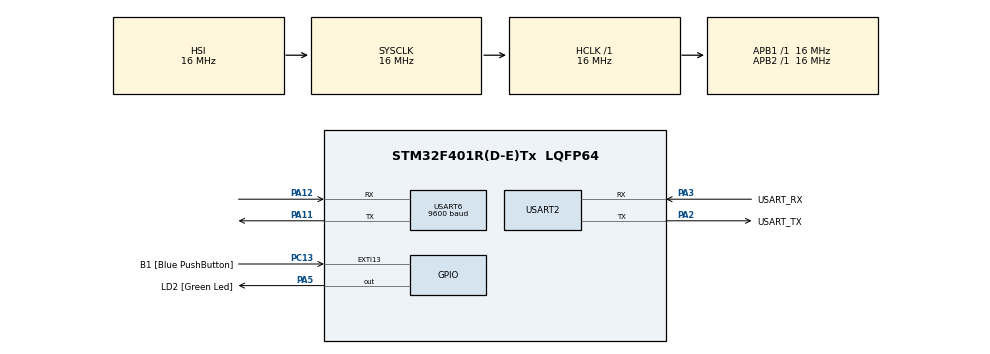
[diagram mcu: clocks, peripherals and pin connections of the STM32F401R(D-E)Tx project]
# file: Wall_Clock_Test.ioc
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Mcu.Family=STM32F4
Mcu.Name=STM32F401R(D-E)Tx
Mcu.Package=LQFP64
NVIC.PriorityGroup=NVIC_PRIORITYGROUP_0
NVIC.TIM5_IRQn=true\:0\:0\:false\:false\:true\:true\:true\:true
NVIC.USART6_IRQn=true\:0\:0\:false\:false\:true\:true\:true\:true
PA11.Mode=Asynchronous
PA11.Signal=USART6_TX
PA12.Mode=Asynchronous
PA12.Signal=USART6_RX
PA13.GPIO_Label=TMS
PA13.Mode=Serial_Wire
PA13.Signal=SYS_JTMS-SWDIO
PA14.GPIO_Label=TCK
PA14.Mode=Serial_Wire
PA14.Signal=SYS_JTCK-SWCLK
PA2.GPIO_Label=USART_TX
PA2.GPIO_Mode=GPIO_MODE_AF_PP
PA2.GPIO_PuPd=GPIO_NOPULL
PA2.GPIO_Speed=GPIO_SPEED_FREQ_LOW
PA2.Mode=Asynchronous
PA2.Signal=USART2_TX
PA3.GPIO_Label=USART_RX
PA3.GPIO_Mode=GPIO_MODE_AF_PP
PA3.GPIO_PuPd=GPIO_NOPULL
PA3.GPIO_Speed=GPIO_SPEED_FREQ_LOW
PA3.Mode=Asynchronous
PA3.Signal=USART2_RX
PA5.GPIO_Label=LD2 [Green Led]
PA5.GPIO_Mode=GPIO_MODE_OUTPUT_PP
PA5.GPIO_PuPd=GPIO_NOPULL
PA5.GPIO_Speed=GPIO_SPEED_FREQ_LOW
PA5.Signal=GPIO_Output
PB3.GPIO_Label=SWO
PB3.Signal=SYS_JTDO-SWO
PC13-ANTI_TAMP.GPIO_Label=B1 [Blue PushButton]
PC13-ANTI_TAMP.GPIO_ModeDefaultEXTI=GPIO_MODE_IT_FALLING
PC13-ANTI_TAMP.GPIO_PuPd=GPIO_NOPULL
PC13-ANTI_TAMP.Signal=GPXTI13
PC14-OSC32_IN.Mode=LSE-External-Oscillator
PC14-OSC32_IN.Signal=RCC_OSC32_IN
PC15-OSC32_OUT.Mode=LSE-External-Oscillator
PC15-OSC32_OUT.Signal=RCC_OSC32_OUT
PH0\ -\ OSC_IN.Mode=HSE-External-Clock-Source
PH0\ -\ OSC_IN.Signal=RCC_OSC_IN
PH1\ -\ OSC_OUT.Mode=HSE-External-Clock-Source
PH1\ -\ OSC_OUT.Signal=RCC_OSC_OUT
ProjectManager.HeapSize=0x200
ProjectManager.StackSize=0x400
ProjectManager.TargetToolchain=STM32CubeIDE
RCC.48MHZClocksFreq_Value=48000000
RCC.AHBFreq_Value=16000000
RCC.APB1Freq_Value=16000000
RCC.APB1TimFreq_Value=16000000
RCC.APB2Freq_Value=16000000
RCC.APB2TimFreq_Value=16000000
RCC.CortexFreq_Value=16000000
RCC.HCLKFreq_Value=16000000
RCC.HSE_VALUE=8000000
RCC.HSI_VALUE=16000000
RCC.PLLN=336
RCC.PLLP=RCC_PLLP_DIV4
RCC.PLLQ=7
RCC.SYSCLKFreq_VALUE=16000000
RCC.VCOOutputFreq_Value=336000000
TIM5.AutoReloadPreload=TIM_AUTORELOAD_PRELOAD_ENABLE
TIM5.Period=1000-1
TIM5.Prescaler=53
USART2.VirtualMode=VM_ASYNC
USART6.BaudRate=9600
USART6.Mode=MODE_TX
USART6.VirtualMode=VM_ASYNC
VP_TIM5_VS_ClockSourceINT.Mode=Internal
board=NUCLEO-F401RE

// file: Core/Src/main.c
/* USER CODE BEGIN Header */
/**
  ******************************************************************************
  * @file           : main.c
  * @brief          : Main program body
  ******************************************************************************
  * @attention
  *
  * Copyright (c) 2024 STMicroelectronics.
  * All rights reserved.
  *
  * This software is licensed under terms that can be found in the LICENSE file
  * in the root directory of this software component.
  * If no LICENSE file comes with this software, it is provided AS-IS.
  *
  ******************************************************************************
  */
/* USER CODE END Header */
#include "main.h"

/* USER CODE BEGIN Includes */
#include <stdio.h>
#include <string.h>
/* USER CODE END Includes */

TIM_HandleTypeDef htim5;

UART_HandleTypeDef huart2;
UART_HandleTypeDef huart6;

/* USER CODE BEGIN PV */
volatile int wall_clock_hr_update_flag = 0;
volatile uint8_t clock_hours = 0;
volatile uint8_t clock_mins = 0;
volatile uint8_t clock_secs = 0;
/* USER CODE END PV */

void SystemClock_Config(void);
static void MX_GPIO_Init(void);
static void MX_USART2_UART_Init(void);
static void MX_TIM5_Init(void);
static void MX_USART6_UART_Init(void);

int main(void)
{

  /* USER CODE BEGIN 1 */
	uint8_t txd_msg_buffer[64] = {0};
  /* USER CODE END 1 */

  /* MCU Configuration--------------------------------------------------------*/

  /* Reset of all peripherals, Initializes the Flash interface and the Systick. */
  HAL_Init();

  /* Configure the system clock */
  SystemClock_Config();

  /* Initialize all configured peripherals */
  MX_GPIO_Init();
  MX_USART2_UART_Init();
  MX_TIM5_Init();
  MX_USART6_UART_Init();
  /* USER CODE BEGIN 2 */
  sprintf((char*)txd_msg_buffer, "\r\n CLOCK TIME (REAL)");
  HAL_UART_Transmit(&huart6,txd_msg_buffer, strlen((char*)txd_msg_buffer), 1000);
  sprintf((char*)txd_msg_buffer, "\r\n HOURS MINS SECS\r\n");
  HAL_UART_Transmit(&huart6,txd_msg_buffer, strlen((char*)txd_msg_buffer), 1000);
	HAL_TIM_Base_Start_IT(&htim5);
	clock_hours = 0;
	clock_mins = 0;
	clock_secs = 0;
  /* USER CODE END 2 */

  /* Infinite loop */
  /* USER CODE BEGIN WHILE */
  while (1)
  {
	  sprintf((char*)txd_msg_buffer, "\r %d : %d : %d", clock_hours, clock_mins, clock_secs);
	  HAL_UART_Transmit(&huart6,txd_msg_buffer, strlen((char*)txd_msg_buffer), 1000);
	  HAL_Delay(100);
    /* USER CODE END WHILE */

  }
}

void SystemClock_Config(void)
{
  RCC_OscInitTypeDef RCC_OscInitStruct = {0};
  RCC_ClkInitTypeDef RCC_ClkInitStruct = {0};

  /** Configure the main internal regulator output voltage
  */
  __HAL_RCC_PWR_CLK_ENABLE();
  __HAL_PWR_VOLTAGESCALING_CONFIG(PWR_REGULATOR_VOLTAGE_SCALE2);

  /** Initializes the RCC Oscillators according to the specified parameters
  * in the RCC_OscInitTypeDef structure.
  */
  RCC_OscInitStruct.OscillatorType = RCC_OSCILLATORTYPE_HSI;
  RCC_OscInitStruct.HSIState = RCC_HSI_ON;
  RCC_OscInitStruct.HSICalibrationValue = RCC_HSICALIBRATION_DEFAULT;
  RCC_OscInitStruct.PLL.PLLState = RCC_PLL_NONE;
  if (HAL_RCC_OscConfig(&RCC_OscInitStruct) != HAL_OK)
  {
    Error_Handler();
  }

  /** Initializes the CPU, AHB and APB buses clocks
  */
  RCC_ClkInitStruct.ClockType = RCC_CLOCKTYPE_HCLK|RCC_CLOCKTYPE_SYSCLK
                              |RCC_CLOCKTYPE_PCLK1|RCC_CLOCKTYPE_PCLK2;
  RCC_ClkInitStruct.SYSCLKSource = RCC_SYSCLKSOURCE_HSI;
  RCC_ClkInitStruct.AHBCLKDivider = RCC_SYSCLK_DIV1;
  RCC_ClkInitStruct.APB1CLKDivider = RCC_HCLK_DIV1;
  RCC_ClkInitStruct.APB2CLKDivider = RCC_HCLK_DIV1;

  if (HAL_RCC_ClockConfig(&RCC_ClkInitStruct, FLASH_LATENCY_0) != HAL_OK)
  {
    Error_Handler();
  }
}

static void MX_TIM5_Init(void)
{

  TIM_ClockConfigTypeDef sClockSourceConfig = {0};
  TIM_MasterConfigTypeDef sMasterConfig = {0};

  htim5.Instance = TIM5;
  htim5.Init.Prescaler = 53;
  htim5.Init.CounterMode = TIM_COUNTERMODE_UP;
  htim5.Init.Period = 1000-1;
  htim5.Init.ClockDivision = TIM_CLOCKDIVISION_DIV1;
  htim5.Init.AutoReloadPreload = TIM_AUTORELOAD_PRELOAD_ENABLE;
  if (HAL_TIM_Base_Init(&htim5) != HAL_OK)
  {
    Error_Handler();
  }
  sClockSourceConfig.ClockSource = TIM_CLOCKSOURCE_INTERNAL;
  if (HAL_TIM_ConfigClockSource(&htim5, &sClockSourceConfig) != HAL_OK)
  {
    Error_Handler();
  }
  sMasterConfig.MasterOutputTrigger = TIM_TRGO_RESET;
  sMasterConfig.MasterSlaveMode = TIM_MASTERSLAVEMODE_DISABLE;
  if (HAL_TIMEx_MasterConfigSynchronization(&htim5, &sMasterConfig) != HAL_OK)
  {
    Error_Handler();
  }

}

static void MX_USART2_UART_Init(void)
{

  huart2.Instance = USART2;
  huart2.Init.BaudRate = 115200;
  huart2.Init.WordLength = UART_WORDLENGTH_8B;
  huart2.Init.StopBits = UART_STOPBITS_1;
  huart2.Init.Parity = UART_PARITY_NONE;
  huart2.Init.Mode = UART_MODE_TX_RX;
  huart2.Init.HwFlowCtl = UART_HWCONTROL_NONE;
  huart2.Init.OverSampling = UART_OVERSAMPLING_16;
  if (HAL_UART_Init(&huart2) != HAL_OK)
  {
    Error_Handler();
  }

}

static void MX_USART6_UART_Init(void)
{

  huart6.Instance = USART6;
  huart6.Init.BaudRate = 9600;
  huart6.Init.WordLength = UART_WORDLENGTH_8B;
  huart6.Init.StopBits = UART_STOPBITS_1;
  huart6.Init.Parity = UART_PARITY_NONE;
  huart6.Init.Mode = UART_MODE_TX;
  huart6.Init.HwFlowCtl = UART_HWCONTROL_NONE;
  huart6.Init.OverSampling = UART_OVERSAMPLING_16;
  if (HAL_UART_Init(&huart6) != HAL_OK)
  {
    Error_Handler();
  }

}

static void MX_GPIO_Init(void)
{
  GPIO_InitTypeDef GPIO_InitStruct = {0};

  /* GPIO Ports Clock Enable */
  __HAL_RCC_GPIOC_CLK_ENABLE();
  __HAL_RCC_GPIOH_CLK_ENABLE();
  __HAL_RCC_GPIOA_CLK_ENABLE();
  __HAL_RCC_GPIOB_CLK_ENABLE();

  /*Configure GPIO pin Output Level */
  HAL_GPIO_WritePin(LD2_GPIO_Port, LD2_Pin, GPIO_PIN_RESET);

  /*Configure GPIO pin : B1_Pin */
  GPIO_InitStruct.Pin = B1_Pin;
  GPIO_InitStruct.Mode = GPIO_MODE_IT_FALLING;
  GPIO_InitStruct.Pull = GPIO_NOPULL;
  HAL_GPIO_Init(B1_GPIO_Port, &GPIO_InitStruct);

  /*Configure GPIO pin : LD2_Pin */
  GPIO_InitStruct.Pin = LD2_Pin;
  GPIO_InitStruct.Mode = GPIO_MODE_OUTPUT_PP;
  GPIO_InitStruct.Pull = GPIO_NOPULL;
  GPIO_InitStruct.Speed = GPIO_SPEED_FREQ_LOW;
  HAL_GPIO_Init(LD2_GPIO_Port, &GPIO_InitStruct);

}

/* USER CODE BEGIN 4 */
void HAL_TIM_PeriodElapsedCallback(TIM_HandleTypeDef *htim) {
	if ((htim->Instance == TIM5)) {
		wall_clock_hr_update_flag = 0;
		clock_secs += 1;

		if ((clock_secs == 60)) {
			clock_mins += 1;
			clock_secs = 0;

			if ((clock_mins == 60)) {
				clock_hours += 1;
				clock_mins = 0;
			}
			wall_clock_hr_update_flag = 1;
		}
	}
}
/* USER CODE END 4 */

void Error_Handler(void)
{
  __disable_irq();
  while (1)
  {
  }
}
